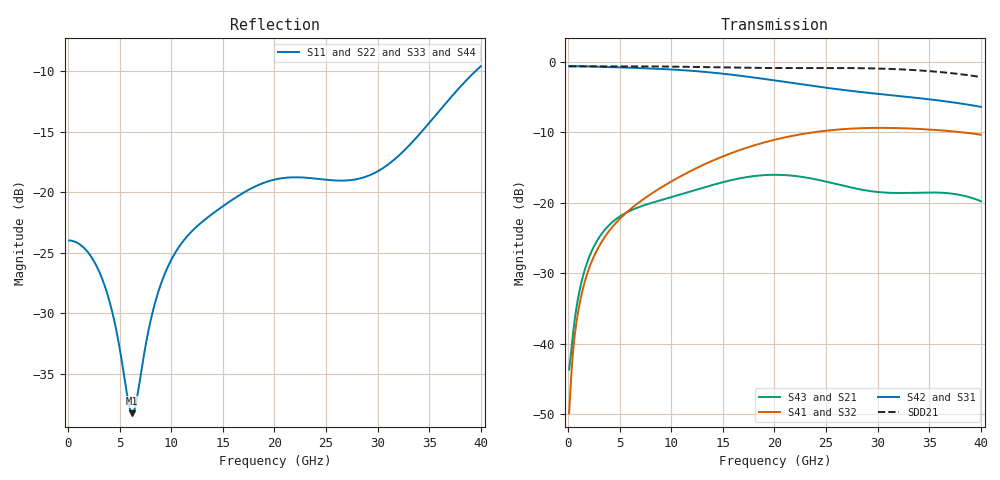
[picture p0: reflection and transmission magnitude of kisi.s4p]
! E_s8_L1L8_p1000_round_g2: pair L1→L8, pitch 1 mm, two round antipads, 2 GND vias
! stackup: 8-layer 1.6 mm FR-4 (generic)
! ports: 1 P near, 2 N near, 3 P far, 4 N far
! kisi-fdtd, conformal, dfine 0.035 mm, 768105 cells
# Hz S RI R 50
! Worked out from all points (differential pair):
!   400 points, 100 MHz to 40 GHz, reference 50 ohm
!   strongest paths, dB at 100 MHz, 10.1 GHz, 20.1 GHz, 30.1 GHz, 40 GHz:
!     S42: -0.6, -1.0, -2.6, -4.5, -6.3
!     S31: -0.6, -1.0, -2.6, -4.5, -6.3
!     S41: -49.9, -16.9, -11.0, -9.3, -10.3
!     S32: -49.9, -16.9, -11.0, -9.3, -10.3
!     S43: -43.7, -19.1, -16.0, -18.5, -19.8
!     S21: -43.7, -19.1, -16.0, -18.5, -19.8
!   taken as a pair (ports 2,1 in; 4,3 out), SDD21 dB: -0.6, -0.6, -0.8, -0.9, -2.1
!   lowest |S11| = -38.2 dB at 6.2 GHz (marker M1), VSWR 1.02, Z = 49.1 + j0.788 ohm
!   |S11| at or under -10 dB: start of sweep to 39.47 GHz
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1e8  -0.0633 0.00189  -0.00608 0.00239  0.9358 -0.0361  0.00261 -0.00184
     -0.00608 0.00239  -0.0633 0.00189  0.00261 -0.00184  0.9358 -0.0361
     0.9358 -0.0361  0.00261 -0.00184  -0.0633 0.00189  -0.00608 0.00239
     0.00261 -0.00184  0.9358 -0.0361  -0.00608 0.00239  -0.0633 0.00189
6.2e9  -0.00923 0.00803  0.0471 -0.0756  -0.6561 -0.6332  -0.0499 0.0775
       0.0471 -0.0756  -0.00923 0.00803  -0.0499 0.0775  -0.6561 -0.6332
       -0.6561 -0.6332  -0.0499 0.0775  -0.00923 0.00803  0.0471 -0.0756
       -0.0499 0.0775  -0.6561 -0.6332  0.0471 -0.0756  -0.00923 0.00803
1.21e10  0.00589 0.0696  -0.1199 0.0214  -0.0683 0.8639  0.1688 -0.0302
         -0.1199 0.0214  0.00589 0.0696  0.1688 -0.0302  -0.0683 0.8639
         -0.0683 0.8639  0.1688 -0.0302  0.00589 0.0696  -0.1199 0.0214
         0.1688 -0.0302  -0.0683 0.8639  -0.1199 0.0214  0.00589 0.0696
2e10  -0.0124 -0.1122  0.1563 -0.0247  0.156 -0.7254  -0.2699 0.0769
      0.1563 -0.0247  -0.0124 -0.1122  -0.2699 0.0769  0.156 -0.7254
      0.156 -0.7254  -0.2699 0.0769  -0.0124 -0.1122  0.1563 -0.0247
      -0.2699 0.0769  0.156 -0.7254  0.1563 -0.0247  -0.0124 -0.1122
2.86e10  -0.0561 0.1005  -0.1099 0.0564  -0.1009 0.6023  0.246 -0.2342
         -0.1099 0.0564  -0.0561 0.1005  0.246 -0.2342  -0.1009 0.6023
         -0.1009 0.6023  0.246 -0.2342  -0.0561 0.1005  -0.1099 0.0564
         0.246 -0.2342  -0.1009 0.6023  -0.1099 0.0564  -0.0561 0.1005
3.35e10  0.1314 0.0976  0.0993 0.0636  0.5578 -0.0502  -0.3193 -0.1067
         0.0993 0.0636  0.1314 0.0976  -0.3193 -0.1067  0.5578 -0.0502
         0.5578 -0.0502  -0.3193 -0.1067  0.1314 0.0976  0.0993 0.0636
         -0.3193 -0.1067  0.5578 -0.0502  0.0993 0.0636  0.1314 0.0976
4e10  0.0695 -0.3245  -0.0777 -0.0672  -0.4041 -0.2616  0.2265 0.2043
      -0.0777 -0.0672  0.0695 -0.3245  0.2265 0.2043  -0.4041 -0.2616
      -0.4041 -0.2616  0.2265 0.2043  0.0695 -0.3245  -0.0777 -0.0672
      0.2265 0.2043  -0.4041 -0.2616  -0.0777 -0.0672  0.0695 -0.3245
